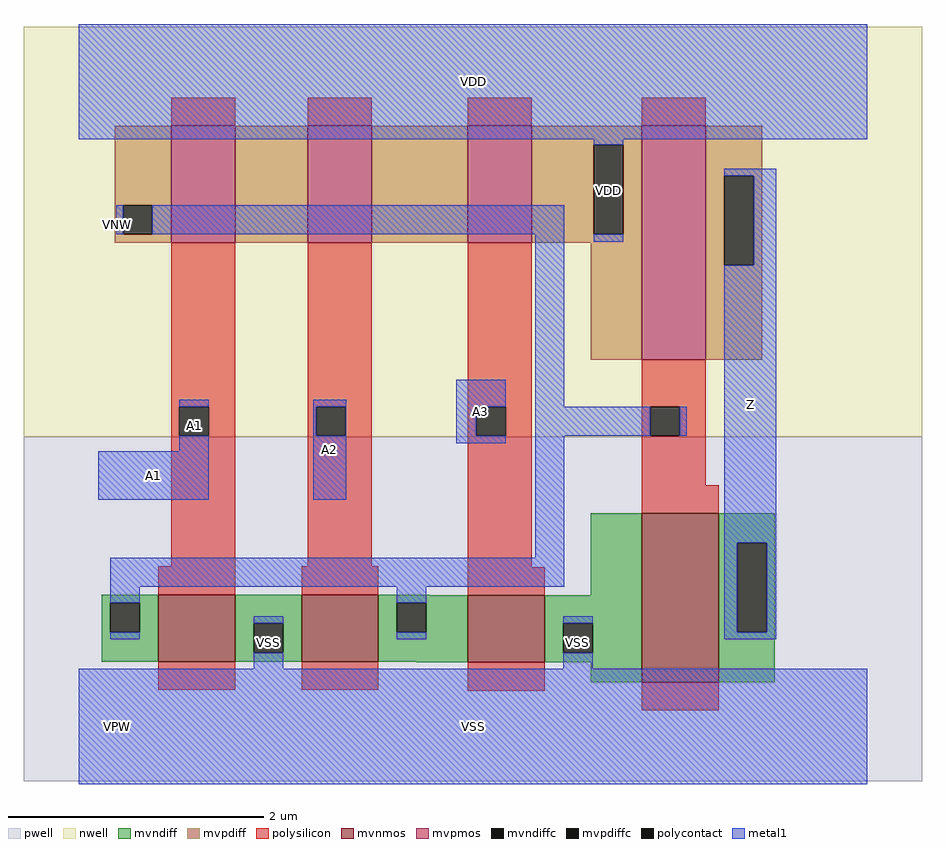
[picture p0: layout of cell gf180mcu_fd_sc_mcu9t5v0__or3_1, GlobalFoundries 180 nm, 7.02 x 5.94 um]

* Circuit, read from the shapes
.subckt gf180mcu_fd_sc_mcu9t5v0__or3_1 A1 A2 A3 Z VDD VNW VPW VSS
XM1 VSS A1 n1 VPW nfet_06v0 w=0.525u l=0.6u
XM2 n1 A2 VSS VPW nfet_06v0 w=0.525u l=0.6u
XM3 VSS A3 n1 VPW nfet_06v0 w=0.525u l=0.6u
XM4 Z n1 VSS VPW nfet_06v0 w=1.32u l=0.6u
XM5 n2 A1 n1 VNW pfet_06v0 w=0.915u l=0.5u
XM6 n3 A2 n2 VNW pfet_06v0 w=0.915u l=0.5u
XM7 VDD A3 n3 VNW pfet_06v0 w=0.915u l=0.5u
XM8 Z n1 VDD VNW pfet_06v0 w=1.83u l=0.5u
.ends

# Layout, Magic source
magic
tech gf180mcuD
magscale 1 10
<< nwell >>
rect -86 453 1318 1094
<< pwell >>
rect -86 -86 1318 453
<< mvnmos >>
rect 124 101 244 206
rect 348 101 468 206
rect 608 100 728 205
rect 880 69 1000 333
<< mvpmos >>
rect 144 756 244 939
rect 358 756 458 939
rect 608 756 708 939
rect 880 573 980 939
<< mvndiff >>
rect 36 193 124 206
rect 36 147 49 193
rect 95 147 124 193
rect 36 101 124 147
rect 244 161 348 206
rect 244 115 273 161
rect 319 115 348 161
rect 244 101 348 115
rect 468 205 548 206
rect 800 205 880 333
rect 468 193 608 205
rect 468 147 497 193
rect 543 147 608 193
rect 468 101 608 147
rect 528 100 608 101
rect 728 161 880 205
rect 728 115 757 161
rect 803 115 880 161
rect 728 100 880 115
rect 800 69 880 100
rect 1000 287 1088 333
rect 1000 147 1029 287
rect 1075 147 1088 287
rect 1000 69 1088 147
<< mvpdiff >>
rect 56 815 144 939
rect 56 769 69 815
rect 115 769 144 815
rect 56 756 144 769
rect 244 756 358 939
rect 458 756 608 939
rect 708 909 880 939
rect 708 769 805 909
rect 851 769 880 909
rect 708 756 880 769
rect 800 573 880 756
rect 980 861 1068 939
rect 980 721 1009 861
rect 1055 721 1068 861
rect 980 573 1068 721
<< mvndiffc >>
rect 49 147 95 193
rect 273 115 319 161
rect 497 147 543 193
rect 757 115 803 161
rect 1029 147 1075 287
<< mvpdiffc >>
rect 69 769 115 815
rect 805 769 851 909
rect 1009 721 1055 861
<< polysilicon >>
rect 144 939 244 983
rect 358 939 458 983
rect 608 939 708 983
rect 880 939 980 983
rect 144 500 244 756
rect 144 454 157 500
rect 203 454 244 500
rect 144 250 244 454
rect 358 500 458 756
rect 358 454 371 500
rect 417 454 458 500
rect 358 250 458 454
rect 608 500 708 756
rect 608 454 621 500
rect 667 454 708 500
rect 124 206 244 250
rect 348 206 468 250
rect 608 249 708 454
rect 880 500 980 573
rect 880 454 893 500
rect 939 454 980 500
rect 880 377 980 454
rect 880 333 1000 377
rect 608 205 728 249
rect 124 57 244 101
rect 348 57 468 101
rect 608 56 728 100
rect 880 25 1000 69
<< polycontact >>
rect 157 454 203 500
rect 371 454 417 500
rect 621 454 667 500
rect 893 454 939 500
<< metal1 >>
rect 0 918 1232 1098
rect 805 909 851 918
rect 58 769 69 815
rect 115 769 759 815
rect 157 500 203 511
rect 157 430 203 454
rect 30 354 203 430
rect 366 500 418 511
rect 366 454 371 500
rect 417 454 418 500
rect 366 354 418 454
rect 590 500 667 542
rect 590 454 621 500
rect 590 443 667 454
rect 713 500 759 769
rect 805 758 851 769
rect 1009 861 1090 872
rect 1055 721 1090 861
rect 713 454 893 500
rect 939 454 950 500
rect 713 264 759 454
rect 49 218 759 264
rect 1009 287 1090 721
rect 49 193 95 218
rect 497 193 543 218
rect 49 136 95 147
rect 273 161 319 172
rect 497 136 543 147
rect 757 161 803 172
rect 273 90 319 115
rect 1009 147 1029 287
rect 1075 147 1090 287
rect 1009 136 1090 147
rect 757 90 803 115
rect 0 -90 1232 90
<< labels >>
flabel metal1 s 157 430 203 511 0 FreeSans 200 0 0 0 A1
port 1 nsew default input
flabel metal1 s 366 354 418 511 0 FreeSans 200 0 0 0 A2
port 2 nsew default input
flabel metal1 s 590 443 667 542 0 FreeSans 200 0 0 0 A3
port 3 nsew default input
flabel metal1 s 0 918 1232 1098 0 FreeSans 200 0 0 0 VDD
port 5 nsew power bidirectional abutment
flabel metal1 s 757 90 803 172 0 FreeSans 200 0 0 0 VSS
port 8 nsew ground bidirectional abutment
flabel metal1 s 1009 136 1090 872 0 FreeSans 200 0 0 0 Z
port 4 nsew default output
flabel nwell s 10 734 110 834 0 FreeSans 400 0 0 0 VNW
port 6 nsew power bidirectional
flabel pwell s 10 -50 110 50 0 FreeSans 400 0 0 0 VPW
port 7 nsew ground bidirectional
rlabel metal1 s 30 354 203 430 1 A1
port 1 nsew default input
rlabel metal1 s 805 758 851 918 1 VDD
port 5 nsew power bidirectional abutment
rlabel metal1 s 273 90 319 172 1 VSS
port 8 nsew ground bidirectional abutment
rlabel metal1 s 0 -90 1232 90 1 VSS
port 8 nsew ground bidirectional abutment
<< properties >>
string FIXED_BBOX 0 0 1232 1008
string GDS_END 278678
string GDS_FILE $PDKPATH/libs.ref/gf180mcu_fd_sc_mcu9t5v0/gds/gf180mcu_fd_sc_mcu9t5v0.gds
string GDS_START 275220
string LEFclass core
string LEFsite GF018hv5v_green_sc9
string LEFsymmetry X Y
<< end >>
